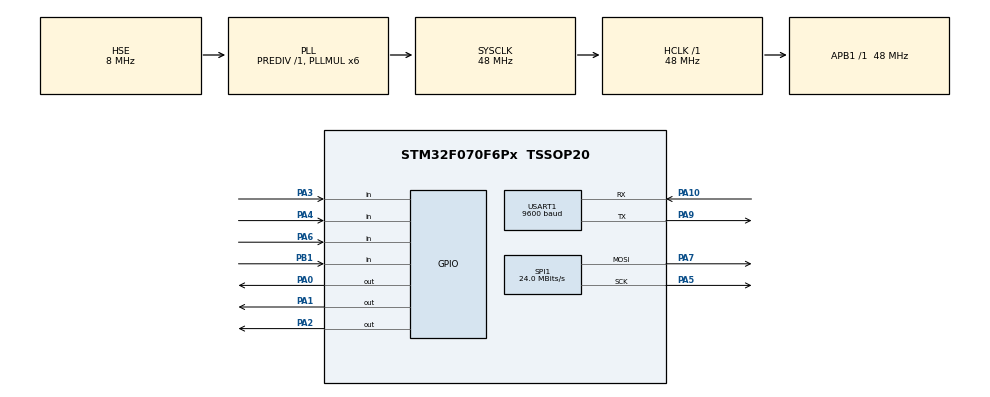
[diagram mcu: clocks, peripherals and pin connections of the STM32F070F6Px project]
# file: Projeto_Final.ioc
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Mcu.Family=STM32F0
Mcu.Name=STM32F070F6Px
Mcu.Package=TSSOP20
PA0.Signal=GPIO_Output
PA1.Signal=GPIO_Output
PA10.Mode=Asynchronous
PA10.Signal=USART1_RX
PA13.Mode=Serial_Wire
PA13.Signal=SYS_SWDIO
PA14.Mode=Serial_Wire
PA14.Signal=SYS_SWCLK
PA2.Signal=GPIO_Output
PA3.GPIO_PuPd=GPIO_PULLDOWN
PA3.Signal=GPIO_Input
PA4.GPIO_PuPd=GPIO_PULLDOWN
PA4.Signal=GPIO_Input
PA5.Mode=TX_Only_Simplex_Unidirect_Master
PA5.Signal=SPI1_SCK
PA6.GPIO_PuPd=GPIO_PULLDOWN
PA6.Signal=GPIO_Input
PA7.Mode=TX_Only_Simplex_Unidirect_Master
PA7.Signal=SPI1_MOSI
PA9.Mode=Asynchronous
PA9.Signal=USART1_TX
PB1.GPIO_PuPd=GPIO_PULLDOWN
PB1.Signal=GPIO_Input
PF0-OSC_IN.Mode=HSE-External-Oscillator
PF0-OSC_IN.Signal=RCC_OSC_IN
PF1-OSC_OUT.Mode=HSE-External-Oscillator
PF1-OSC_OUT.Signal=RCC_OSC_OUT
ProjectManager.HeapSize=0x200
ProjectManager.StackSize=0x400
ProjectManager.TargetToolchain=STM32CubeIDE
RCC.AHBFreq_Value=48000000
RCC.APB1Freq_Value=48000000
RCC.APB1TimFreq_Value=48000000
RCC.HCLKFreq_Value=48000000
RCC.PLLMUL=RCC_PLL_MUL6
RCC.PLLSourceVirtual=RCC_PLLSOURCE_HSE
RCC.SYSCLKFreq_VALUE=48000000
RCC.SYSCLKSource=RCC_SYSCLKSOURCE_PLLCLK
SPI1.BaudRatePrescaler=SPI_BAUDRATEPRESCALER_2
SPI1.CLKPhase=SPI_PHASE_2EDGE
SPI1.CLKPolarity=SPI_POLARITY_HIGH
SPI1.CalculateBaudRate=24.0 MBits/s
SPI1.DataSize=SPI_DATASIZE_8BIT
SPI1.Direction=SPI_DIRECTION_2LINES
SPI1.Mode=SPI_MODE_MASTER
SPI1.VirtualType=VM_MASTER
USART1.BaudRate=9600
USART1.VirtualMode=VM_ASYNC
board=custom

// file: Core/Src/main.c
/* USER CODE BEGIN Header */
/**
  ******************************************************************************
  * @file           : main.c
  * @brief          : Main program body
  ******************************************************************************
  * @attention
  *
  * Copyright (c) 2022 STMicroelectronics.
  * All rights reserved.
  *
  * This software is licensed under terms that can be found in the LICENSE file
  * in the root directory of this software component.
  * If no LICENSE file comes with this software, it is provided AS-IS.
  *
  ******************************************************************************
  */
/* USER CODE END Header */
#include "main.h"

/* USER CODE BEGIN Includes */

#include "DFPLAYER_MINI.h"
#include "OledDriver.h"
#include "OledGrph.h"
#include "OledChar.h"

/* USER CODE END Includes */

SPI_HandleTypeDef hspi1;

UART_HandleTypeDef huart1;

void SystemClock_Config(void);
static void MX_GPIO_Init(void);
static void MX_USART1_UART_Init(void);
static void MX_SPI1_Init(void);

/* USER CODE BEGIN 0 */

void InitInterface (void)
{
	OledSetCursor(0,0);
	OledPutChar('I');
	HAL_Delay(50);
	OledPutChar('n');
	HAL_Delay(50);
	OledPutChar('i');
	HAL_Delay(50);
	OledPutChar('c');
	HAL_Delay(50);
	OledPutChar('i');
	HAL_Delay(50);
	OledPutChar('a');
	HAL_Delay(50);
	OledPutChar('n');
	HAL_Delay(50);
	OledPutChar('d');
	HAL_Delay(50);
	OledPutChar('o');
	HAL_Delay(50);
	OledPutChar(':');
	HAL_Delay(50);
	OledSetCursor(0,2);
	OledPutChar('D');
	HAL_Delay(50);
	OledPutChar('e');
	HAL_Delay(50);
	OledPutChar('d');
	HAL_Delay(50);
	OledPutChar('e');
	HAL_Delay(50);
	OledPutChar('l');
	HAL_Delay(50);
	OledPutChar('M');
	HAL_Delay(50);
	OledPutChar('u');
	HAL_Delay(50);
	OledPutChar('s');
	HAL_Delay(50);
	OledPutChar('i');
	HAL_Delay(50);
	OledPutChar('c');
	HAL_Delay(1000);
	OledPutChar('.');
	HAL_Delay(1000);
	OledPutChar('.');
	HAL_Delay(1000);
	OledPutChar('.');
	HAL_Delay(1000);
	OledSetCursor(10,2);
	OledPutString("   ");
	OledSetCursor(10,2);
	HAL_Delay(1000);
	OledPutChar('.');
	HAL_Delay(1000);
	OledPutChar('.');
	HAL_Delay(1000);
	OledPutChar('.');
	HAL_Delay(1000);
	OledClear();
	OledSetCursor(0,0);
}

/* USER CODE END 0 */

int main(void)
{

  /* MCU Configuration--------------------------------------------------------*/

  /* Reset of all peripherals, Initializes the Flash interface and the Systick. */
  HAL_Init();

  /* Configure the system clock */
  //SystemClock_Config();

  /* Initialize all configured peripherals */
  MX_GPIO_Init();
  MX_USART1_UART_Init();
  MX_SPI1_Init();
  /* USER CODE BEGIN 2 */

  OledInit();
  OledClear();
  OledSetCursor(0,0);
  InitInterface();
  DF_Init(16);
  DF_PlayFromStart();

  /* USER CODE END 2 */

  /* Infinite loop */
  while (1)
  {

    /* USER CODE BEGIN 3 */
	  Check_Key();
  }
  /* USER CODE END 3 */
}

void SystemClock_Config(void)
{
  RCC_OscInitTypeDef RCC_OscInitStruct = {0};
  RCC_ClkInitTypeDef RCC_ClkInitStruct = {0};
  RCC_PeriphCLKInitTypeDef PeriphClkInit = {0};

  /** Initializes the RCC Oscillators according to the specified parameters
  * in the RCC_OscInitTypeDef structure.
  */
  RCC_OscInitStruct.OscillatorType = RCC_OSCILLATORTYPE_HSE;
  RCC_OscInitStruct.HSEState = RCC_HSE_ON;
  RCC_OscInitStruct.PLL.PLLState = RCC_PLL_ON;
  RCC_OscInitStruct.PLL.PLLSource = RCC_PLLSOURCE_HSE;
  RCC_OscInitStruct.PLL.PLLMUL = RCC_PLL_MUL6;
  RCC_OscInitStruct.PLL.PREDIV = RCC_PREDIV_DIV1;
  if (HAL_RCC_OscConfig(&RCC_OscInitStruct) != HAL_OK)
  {
    Error_Handler();
  }

  /** Initializes the CPU, AHB and APB buses clocks
  */
  RCC_ClkInitStruct.ClockType = RCC_CLOCKTYPE_HCLK|RCC_CLOCKTYPE_SYSCLK
                              |RCC_CLOCKTYPE_PCLK1;
  RCC_ClkInitStruct.SYSCLKSource = RCC_SYSCLKSOURCE_PLLCLK;
  RCC_ClkInitStruct.AHBCLKDivider = RCC_SYSCLK_DIV1;
  RCC_ClkInitStruct.APB1CLKDivider = RCC_HCLK_DIV1;

  if (HAL_RCC_ClockConfig(&RCC_ClkInitStruct, FLASH_LATENCY_1) != HAL_OK)
  {
    Error_Handler();
  }
  PeriphClkInit.PeriphClockSelection = RCC_PERIPHCLK_USART1;
  PeriphClkInit.Usart1ClockSelection = RCC_USART1CLKSOURCE_PCLK1;
  if (HAL_RCCEx_PeriphCLKConfig(&PeriphClkInit) != HAL_OK)
  {
    Error_Handler();
  }
}

static void MX_SPI1_Init(void)
{

  /* SPI1 parameter configuration*/
  hspi1.Instance = SPI1;
  hspi1.Init.Mode = SPI_MODE_MASTER;
  hspi1.Init.Direction = SPI_DIRECTION_2LINES;
  hspi1.Init.DataSize = SPI_DATASIZE_8BIT;
  hspi1.Init.CLKPolarity = SPI_POLARITY_HIGH;
  hspi1.Init.CLKPhase = SPI_PHASE_2EDGE;
  hspi1.Init.NSS = SPI_NSS_SOFT;
  hspi1.Init.BaudRatePrescaler = SPI_BAUDRATEPRESCALER_2;
  hspi1.Init.FirstBit = SPI_FIRSTBIT_MSB;
  hspi1.Init.TIMode = SPI_TIMODE_DISABLE;
  hspi1.Init.CRCCalculation = SPI_CRCCALCULATION_DISABLE;
  hspi1.Init.CRCPolynomial = 7;
  hspi1.Init.CRCLength = SPI_CRC_LENGTH_DATASIZE;
  hspi1.Init.NSSPMode = SPI_NSS_PULSE_DISABLE;
  if (HAL_SPI_Init(&hspi1) != HAL_OK)
  {
    Error_Handler();
  }

}

static void MX_USART1_UART_Init(void)
{

  huart1.Instance = USART1;
  huart1.Init.BaudRate = 9600;
  huart1.Init.WordLength = UART_WORDLENGTH_8B;
  huart1.Init.StopBits = UART_STOPBITS_1;
  huart1.Init.Parity = UART_PARITY_NONE;
  huart1.Init.Mode = UART_MODE_TX_RX;
  huart1.Init.HwFlowCtl = UART_HWCONTROL_NONE;
  huart1.Init.OverSampling = UART_OVERSAMPLING_16;
  huart1.Init.OneBitSampling = UART_ONE_BIT_SAMPLE_DISABLE;
  huart1.AdvancedInit.AdvFeatureInit = UART_ADVFEATURE_NO_INIT;
  if (HAL_UART_Init(&huart1) != HAL_OK)
  {
    Error_Handler();
  }

}

static void MX_GPIO_Init(void)
{
  GPIO_InitTypeDef GPIO_InitStruct = {0};

  /* GPIO Ports Clock Enable */
  __HAL_RCC_GPIOF_CLK_ENABLE();
  __HAL_RCC_GPIOA_CLK_ENABLE();
  __HAL_RCC_GPIOB_CLK_ENABLE();

  /*Configure GPIO pin Output Level */
  HAL_GPIO_WritePin(GPIOA, GPIO_PIN_0|GPIO_PIN_1|GPIO_PIN_2, GPIO_PIN_RESET);

  /*Configure GPIO pins : PA0 PA1 PA2 */
  GPIO_InitStruct.Pin = GPIO_PIN_0|GPIO_PIN_1|GPIO_PIN_2;
  GPIO_InitStruct.Mode = GPIO_MODE_OUTPUT_PP;
  GPIO_InitStruct.Pull = GPIO_NOPULL;
  GPIO_InitStruct.Speed = GPIO_SPEED_FREQ_LOW;
  HAL_GPIO_Init(GPIOA, &GPIO_InitStruct);

  /*Configure GPIO pins : PA3 PA4 PA6 */
  GPIO_InitStruct.Pin = GPIO_PIN_3|GPIO_PIN_4|GPIO_PIN_6;
  GPIO_InitStruct.Mode = GPIO_MODE_INPUT;
  GPIO_InitStruct.Pull = GPIO_PULLDOWN;
  HAL_GPIO_Init(GPIOA, &GPIO_InitStruct);

  /*Configure GPIO pin : PB1 */
  GPIO_InitStruct.Pin = GPIO_PIN_1;
  GPIO_InitStruct.Mode = GPIO_MODE_INPUT;
  GPIO_InitStruct.Pull = GPIO_PULLDOWN;
  HAL_GPIO_Init(GPIOB, &GPIO_InitStruct);

}

void Error_Handler(void)
{
  __disable_irq();
  while (1)
  {
  }
}
